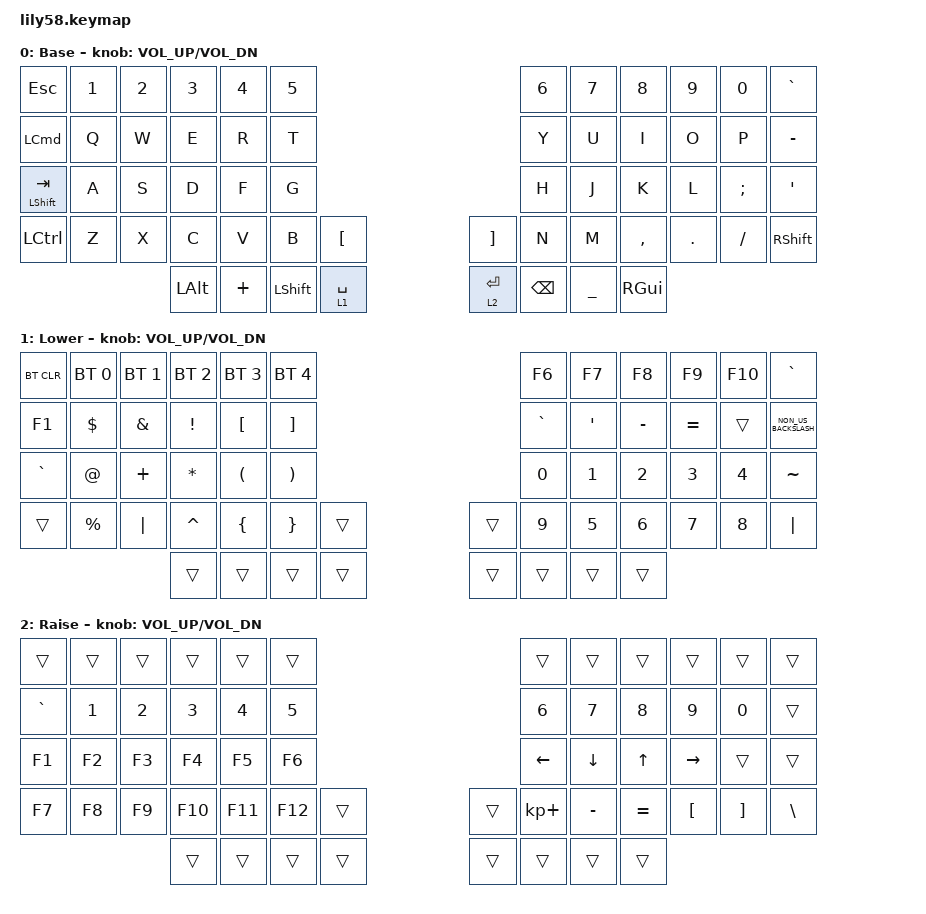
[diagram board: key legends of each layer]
/*
 * Copyright (c) 2020 The ZMK Contributors
 *
 * SPDX-License-Identifier: MIT
 */

#include <behaviors.dtsi>
#include <dt-bindings/zmk/bt.h>
#include <dt-bindings/zmk/keys.h>

/ {
    behaviors {
        tap_or_hold: tap_or_hold {
            compatible = "zmk,behavior-hold-tap";
            label = "TAP_OR_HOLD";
            bindings = <&kp>, <&kp>;

            #binding-cells = <2>;
            hold-trigger-key-positions = <24>;
            tapping-term-ms = <200>;
            flavor = "balanced";
            quick-tap-ms = <175>;
        };

        tap_hold_to_layer: tap_hold_to_layer {
            compatible = "zmk,behavior-hold-tap";
            label = "TAP_HOLD_TO_LAYER";
            bindings = <&mo>, <&kp>;

            #binding-cells = <2>;
            tapping-term-ms = <200>;
            quick-tap-ms = <175>;
        };
    };

    keymap {
        compatible = "zmk,keymap";

        default_layer {
            // ------------------------------------------------------------------------------------------------------------
            // |  ESC  |  1  |  2  |  3   |  4   |  5   |                   |  6   |  7    |  8    |  9   |   0   |   `   |
            // |  TAB  |  Q  |  W  |  E   |  R   |  T   |                   |  Y   |  U    |  I    |  O   |   P   |   -   |
            // |  CTRL |  A  |  S  |  D   |  F   |  G   |                   |  H   |  J    |  K    |  L   |   ;   |   '   |
            // | SHIFT |  Z  |  X  |  C   |  V   |  B   |   "["  |  |  "]"  |  N   |  M    |  ,    |  .   |   /   | SHIFT |
            //                     | ALT  | GUI  | LOWER|  SPACE |  | ENTER | RAISE| BSPC  | GUI   |

            display-name = "Base";
            bindings = <
&kp ESC                      &kp N1  &kp N2  &kp N3    &kp N4    &kp N5                                                                    &kp N6         &kp N7     &kp N8     &kp N9   &kp N0    &kp GRAVE
&kp LEFT_COMMAND             &kp Q   &kp W   &kp E     &kp R     &kp T                                                                     &kp Y          &kp U      &kp I      &kp O    &kp P     &kp MINUS
&tap_or_hold LEFT_SHIFT TAB  &kp A   &kp S   &kp D     &kp F     &kp G                                                                     &kp H          &kp J      &kp K      &kp L    &kp SEMI  &kp SQT
&kp LEFT_CONTROL             &kp Z   &kp X   &kp C     &kp V     &kp B           &kp LBKT                      &kp RBKT                    &kp N          &kp M      &kp COMMA  &kp DOT  &kp FSLH  &kp RSHFT
                                             &kp LALT  &kp PLUS  &kp LEFT_SHIFT  &tap_hold_to_layer 1 SPACE    &tap_hold_to_layer 2 ENTER  &kp BACKSPACE  &kp UNDER  &kp RGUI
            >;

            sensor-bindings = <&inc_dec_kp C_VOL_UP C_VOL_DN>;
        };

        lower_layer {
            // ------------------------------------------------------------------------------------------------------------
            // | BTCLR | BT1 | BT2 |  BT3 |  BT4 |  BT5 |                   |      |       |       |      |       |       |
            // |  F1   |  F2 |  F3 |  F4  |  F5  |  F6  |                   |  F7  |  F8   |  F9   |  F10 |  F11  |  F12  |
            // |   `   |  !  |  @  |  #   |  $   |  %   |                   |  ^   |  &    |  *    |  (   |   )   |   ~   |
            // |       |     |     |      |      |      |        |  |       |      |  _    |  +    |  {   |   }   |  "|"  |
            //                     |      |      |      |        |  |       |      |       |       |

            display-name = "Lower";
            bindings = <
&bt BT_CLR  &bt BT_SEL 0  &bt BT_SEL 1   &bt BT_SEL 2     &bt BT_SEL 3          &bt BT_SEL 4                             &kp F6     &kp F7        &kp F8        &kp F9        &kp F10       &kp GRAVE
&kp F1      &kp DOLLAR    &kp AMPERSAND  &kp EXCLAMATION  &kp LEFT_BRACKET      &kp RIGHT_BRACKET                        &kp GRAVE  &kp SQT       &kp MINUS     &kp EQUAL     &trans        &kp NON_US_BACKSLASH
&kp GRAVE   &kp AT_SIGN   &kp PLUS       &kp ASTERISK     &kp LEFT_PARENTHESIS  &kp RIGHT_PARENTHESIS                    &kp N0     &kp NUMBER_1  &kp NUMBER_2  &kp NUMBER_3  &kp NUMBER_4  &kp TILDE
&trans      &kp PERCENT   &kp PIPE       &kp CARET        &kp LEFT_BRACE        &kp RIGHT_BRACE        &trans    &trans  &kp N9     &kp N5        &kp NUMBER_6  &kp N7        &kp N8        &kp PIPE
                                         &trans           &trans                &trans                 &trans    &trans  &trans     &trans        &trans
            >;

            sensor-bindings = <&inc_dec_kp C_VOL_UP C_VOL_DN>;
        };

        raise_layer {
            // ------------------------------------------------------------------------------------------------------------
            // |       |     |     |      |      |      |                   |      |       |       |      |       |       |
            // |   `   |  1  |  2  |  3   |  4   |  5   |                   |  6   |   7   |   8   |  9   |   0   |       |
            // |   F1  |  F2 |  F3 |  F4  |  F5  |  F6  |                   |      |   <-  |   v   |  ^   |  ->   |       |
            // |   F7  |  F8 |  F9 |  F10 |  F11 |  F12 |        |  |       |  +   |   -   |   =   |  [   |   ]   |   \   |
            //                     |      |      |      |        |  |       |      |       |       |

            display-name = "Raise";
            bindings = <
&trans     &trans  &trans  &trans   &trans   &trans                     &trans          &trans          &trans        &trans           &trans    &trans
&kp GRAVE  &kp N1  &kp N2  &kp N3   &kp N4   &kp N5                     &kp N6          &kp N7          &kp N8        &kp N9           &kp N0    &trans
&kp F1     &kp F2  &kp F3  &kp F4   &kp F5   &kp F6                     &kp LEFT_ARROW  &kp DOWN_ARROW  &kp UP_ARROW  &kp RIGHT_ARROW  &trans    &trans
&kp F7     &kp F8  &kp F9  &kp F10  &kp F11  &kp F12  &trans    &trans  &kp KP_PLUS     &kp MINUS       &kp EQUAL     &kp LBKT         &kp RBKT  &kp BSLH
                           &trans   &trans   &trans   &trans    &trans  &trans          &trans          &trans
            >;

            sensor-bindings = <&inc_dec_kp C_VOL_UP C_VOL_DN>;
        };
    };
};
